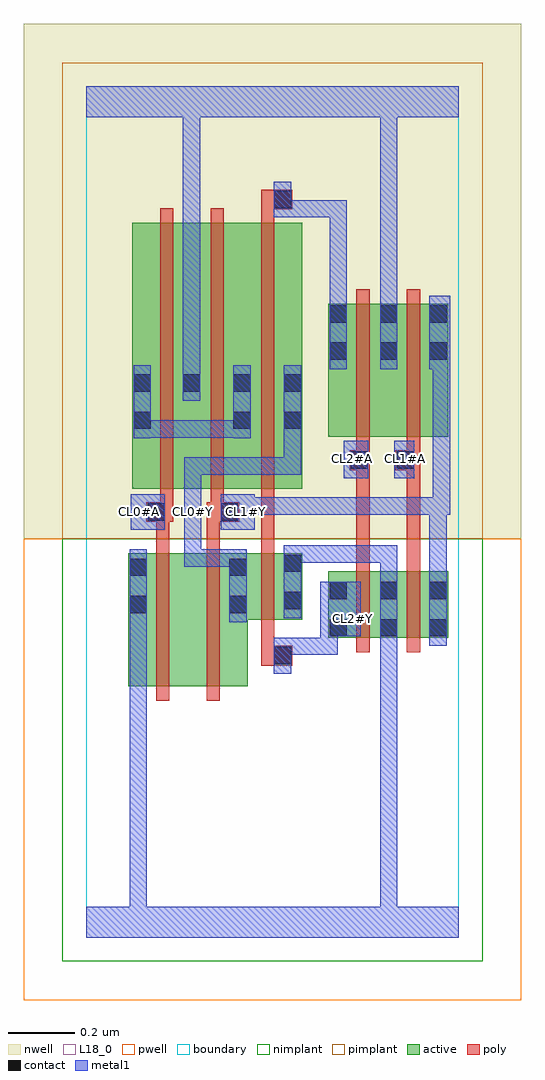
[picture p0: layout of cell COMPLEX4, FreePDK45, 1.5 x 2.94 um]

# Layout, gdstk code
import gdstk
lib = gdstk.Library(unit=1e-6, precision=1e-09)
def R(c, l, rs):  # rectangles x0, y0, x1, y1
    for r in rs: c.add(gdstk.rectangle(r[:2], r[2:], *l))
def A(c, l, x, y, w, h, nx, ny, dx, dy):  # array of equal rectangles
    R(c, l, [(x+i*dx, y+j*dy, x+i*dx+w, y+j*dy+h) for i in range(nx) for j in range(ny)])
active = (1, 0)
pwell = (2, 0)
nwell = (3, 0)
nimplant = (4, 0)
pimplant = (5, 0)
poly = (9, 0)
contact = (10, 0)
metal1 = (11, 0)
L18_0 = (18, 0)
boundary = (235, 0)

complex4 = lib.new_cell('COMPLEX4')
R(complex4, active, [(0.126,0.756,0.186,1.156), (0.126,0.756,0.306,1.156), (0.306,0.756,0.486,1.156), (0.426,0.756,0.486,1.156), (0.728,0.902,0.788,1.102), (0.728,0.902,0.94,1.102), (0.88,0.902,1.088,1.102), (0.88,0.902,0.94,1.074), (1.028,0.902,1.088,1.102), (0.426,0.956,0.65,1.156), (0.59,0.956,0.65,1.156), (0.138,1.35,0.198,2.044), (0.138,1.35,0.346,2.15), (0.286,1.35,0.498,2.15), (0.438,1.35,0.65,2.15), (0.59,1.35,0.65,2.044), (0.728,1.506,0.788,1.906), (0.728,1.506,0.94,1.906), (0.88,1.506,0.94,1.906), (0.88,1.506,1.088,1.906), (1.028,1.506,1.088,1.906), (0.438,1.526,0.498,2.044), (0.286,1.638,0.346,2.044)])
R(complex4, pwell, [(-0.188,-0.188,1.308,1.2)])
R(complex4, nwell, [(-0.188,1.2,1.308,2.748)])
R(complex4, nimplant, [(-0.072,-0.072,1.192,1.2)])
R(complex4, pimplant, [(-0.072,1.2,1.192,2.632)])
A(complex4, poly, 0.222, 1.306, 0.04, 0.888, 3, 1, 0.152, 0)
R(complex4, poly, [(0.21,0.712,0.25,1.2), (0.362,0.712,0.402,1.2), (0.526,0.818,0.62,0.878), (0.526,0.838,0.566,0.952), (0.812,0.858,0.852,1.146), (0.964,0.858,1.004,1.146), (0.526,0.912,0.566,1.2), (0.812,1.106,0.852,1.446), (0.964,1.106,1.004,1.446), (0.21,1.16,0.25,1.29), (0.362,1.16,0.402,1.29), (0.526,1.16,0.566,1.236), (0.526,1.196,0.566,1.236), (0.526,1.196,0.566,1.236), (0.526,1.196,0.566,1.236), (0.526,1.196,0.566,1.346), (0.18,1.25,0.262,1.31), (0.21,1.25,0.25,1.29), (0.21,1.25,0.25,1.29), (0.362,1.25,0.46,1.31), (0.222,1.27,0.262,1.346), (0.374,1.27,0.414,1.346), (0.374,1.27,0.414,1.31), (0.374,1.27,0.414,1.31), (0.792,1.406,0.852,1.466), (0.812,1.406,0.852,1.446), (0.812,1.406,0.852,1.446), (0.93,1.406,1.004,1.466), (0.964,1.406,1.004,1.446), (0.964,1.406,1.004,1.446), (0.812,1.426,0.852,1.502), (0.964,1.426,1.004,1.502), (0.812,1.462,0.852,1.95), (0.964,1.462,1.004,1.95), (0.526,2.154,0.566,2.23), (0.526,2.19,0.62,2.25)])
A(complex4, contact, 0.29, 1.642, 0.052, 0.052, 3, 1, 0.152, 0)
R(complex4, contact, [(0.564,0.822,0.616,0.874), (0.732,0.906,0.784,0.958), (0.884,0.906,0.936,0.958), (1.032,0.906,1.084,0.958), (0.13,0.976,0.182,1.028), (0.43,0.976,0.482,1.028), (0.594,0.988,0.646,1.04), (0.732,1.018,0.784,1.07), (0.884,1.018,0.936,1.07), (1.032,1.018,1.084,1.07), (0.13,1.088,0.182,1.14), (0.43,1.088,0.482,1.14), (0.594,1.1,0.646,1.152), (0.184,1.254,0.236,1.306), (0.404,1.254,0.456,1.306), (0.796,1.41,0.848,1.462), (0.934,1.41,0.986,1.462), (0.142,1.53,0.194,1.582), (0.442,1.53,0.494,1.582), (0.594,1.53,0.646,1.582), (0.142,1.642,0.194,1.694), (0.732,1.738,0.784,1.79), (0.884,1.738,0.936,1.79), (1.032,1.738,1.084,1.79), (0.732,1.85,0.784,1.902), (0.884,1.85,0.936,1.902), (1.032,1.85,1.084,1.902), (0.564,2.194,0.616,2.246)])
R(complex4, metal1, [(0,0,1.12,0.092), (0.13,0.04,0.182,0.092), (0.13,0.04,0.182,0.092), (0.13,0.04,0.182,0.092), (0.13,0.04,0.182,0.092), (0.13,0.04,0.182,0.092), (0.13,0.04,0.182,0.092), (0.13,0.04,0.182,0.092), (0.13,0.04,0.182,0.092), (0.13,0.04,0.182,0.092), (0.13,0.04,0.182,0.092), (0.13,0.04,0.182,0.092), (0.13,0.04,0.182,0.092), (0.13,0.04,0.182,1), (0.884,0.04,0.936,0.092), (0.884,0.04,0.936,0.092), (0.884,0.04,0.936,0.092), (0.884,0.04,0.936,0.092), (0.884,0.04,0.936,0.092), (0.884,0.04,0.936,0.092), (0.884,0.04,0.936,0.092), (0.884,0.04,0.936,0.092), (0.884,0.04,0.936,0.092), (0.884,0.04,0.936,0.092), (0.884,0.04,0.936,0.092), (0.884,0.04,0.936,0.092), (0.884,0.04,0.936,0.092), (0.884,0.04,0.936,0.092), (0.884,0.04,0.936,0.092), (0.884,0.04,0.936,0.092), (0.884,0.04,0.936,0.93), (0.564,0.794,0.616,0.902), (0.564,0.85,0.616,0.902), (0.564,0.85,0.616,0.902), (0.564,0.85,0.756,0.902), (0.704,0.85,0.756,0.902), (0.704,0.85,0.756,0.958), (0.884,0.878,0.936,1.098), (1.032,0.878,1.084,1.098), (0.704,0.906,0.826,1.07), (0.13,0.948,0.182,1.168), (0.43,0.948,0.482,1.168), (0.594,0.96,0.646,1.18), (0.884,1.046,0.936,1.18), (1.032,1.046,1.084,1.324), (0.294,1.116,0.346,1.168), (0.294,1.116,0.346,1.168), (0.294,1.116,0.346,1.168), (0.294,1.116,0.346,1.278), (0.294,1.116,0.482,1.168), (0.594,1.128,0.826,1.18), (0.774,1.128,0.826,1.18), (0.774,1.128,0.826,1.18), (0.774,1.128,0.826,1.18), (0.774,1.128,0.936,1.18), (0.884,1.128,0.936,1.18), (0.134,1.226,0.236,1.334), (0.294,1.226,0.346,1.334), (0.404,1.226,0.506,1.334), (0.454,1.272,0.506,1.324), (0.454,1.272,0.506,1.324), (0.454,1.272,0.646,1.324), (0.594,1.272,0.646,1.324), (0.594,1.272,0.646,1.324), (0.594,1.272,0.646,1.324), (0.594,1.272,0.826,1.324), (0.774,1.272,0.826,1.324), (0.774,1.272,0.826,1.324), (0.774,1.272,0.826,1.324), (0.774,1.272,0.936,1.324), (0.884,1.272,0.936,1.324), (0.884,1.272,1.084,1.324), (1.032,1.272,1.084,1.324), (1.032,1.272,1.084,1.324), (1.032,1.272,1.094,1.324), (1.042,1.272,1.094,1.762), (1.042,1.272,1.094,1.324), (1.042,1.272,1.094,1.324), (0.294,1.282,0.346,1.444), (0.774,1.382,0.848,1.494), (0.926,1.382,0.986,1.494), (0.294,1.392,0.346,1.444), (0.294,1.392,0.346,1.444), (0.294,1.392,0.346,1.444), (0.294,1.392,0.456,1.444), (0.404,1.392,0.456,1.444), (0.404,1.392,0.646,1.444), (0.594,1.392,0.646,1.444), (0.594,1.392,0.646,1.444), (0.594,1.392,0.646,1.444), (0.594,1.392,0.646,1.554), (0.142,1.502,0.194,1.722), (0.442,1.502,0.494,1.722), (0.594,1.502,0.646,1.722), (0.142,1.504,0.194,1.556), (0.142,1.504,0.194,1.556), (0.142,1.504,0.346,1.556), (0.294,1.504,0.346,1.556), (0.294,1.504,0.346,1.556), (0.294,1.504,0.346,1.556), (0.294,1.504,0.494,1.556), (0.29,1.614,0.342,1.722), (0.29,1.67,0.342,1.722), (0.29,1.67,0.342,1.722), (0.29,1.67,0.342,2.52), (0.732,1.71,0.784,1.93), (0.884,1.71,0.936,1.93), (1.032,1.71,1.094,1.93), (0.732,1.878,0.784,1.93), (0.732,1.878,0.784,1.93), (0.732,1.878,0.784,1.93), (0.732,1.878,0.784,1.93), (0.732,1.878,0.784,1.93), (0.732,1.878,0.784,1.93), (0.732,1.878,0.784,2.218), (0.884,1.878,0.936,1.93), (0.884,1.878,0.936,1.93), (0.884,1.878,0.936,2.52), (0.564,2.166,0.616,2.218), (0.564,2.166,0.616,2.218), (0.564,2.166,0.784,2.218), (0.564,2.166,0.616,2.274), (0.732,2.166,0.784,2.218), (0.732,2.166,0.784,2.218), (0.732,2.166,0.784,2.218), (0,2.468,1.12,2.56), (0.29,2.468,0.342,2.52), (0.29,2.468,0.342,2.52), (0.29,2.468,0.342,2.52), (0.29,2.468,0.342,2.52), (0.29,2.468,0.342,2.52), (0.29,2.468,0.342,2.52), (0.884,2.468,0.936,2.52), (0.884,2.468,0.936,2.52), (0.884,2.468,0.936,2.52), (0.884,2.468,0.936,2.52), (0.884,2.468,0.936,2.52), (0.884,2.468,0.936,2.52), (0.884,2.468,0.936,2.52), (0.884,2.468,0.936,2.52), (0.884,2.468,0.936,2.52), (0.884,2.468,0.936,2.52), (0.884,2.468,0.936,2.52), (0.884,2.468,0.936,2.52), (0.884,2.468,0.936,2.52), (0.884,2.468,0.936,2.52)])
A(complex4, L18_0, 0.134, 1.254, 0.052, 0.052, 3, 1, 0.16, 0)
R(complex4, L18_0, [(0,0,1.12,0.092), (0.13,0.04,0.182,0.092), (0.13,0.04,0.182,0.092), (0.13,0.04,0.182,0.092), (0.13,0.04,0.182,0.092), (0.13,0.04,0.182,0.092), (0.13,0.04,0.182,0.092), (0.13,0.04,0.182,0.092), (0.13,0.04,0.182,0.092), (0.13,0.04,0.182,0.092), (0.13,0.04,0.182,0.092), (0.13,0.04,0.182,0.092), (0.13,0.04,0.182,0.092), (0.13,0.04,0.182,1), (0.884,0.04,0.936,0.092), (0.884,0.04,0.936,0.092), (0.884,0.04,0.936,0.092), (0.884,0.04,0.936,0.092), (0.884,0.04,0.936,0.092), (0.884,0.04,0.936,0.092), (0.884,0.04,0.936,0.092), (0.884,0.04,0.936,0.092), (0.884,0.04,0.936,0.092), (0.884,0.04,0.936,0.092), (0.884,0.04,0.936,0.092), (0.884,0.04,0.936,0.092), (0.884,0.04,0.936,0.092), (0.884,0.04,0.936,0.092), (0.884,0.04,0.936,0.092), (0.884,0.04,0.936,0.092), (0.884,0.04,0.936,0.93), (0.564,0.794,0.616,0.902), (0.564,0.85,0.616,0.902), (0.564,0.85,0.616,0.902), (0.564,0.85,0.756,0.902), (0.704,0.85,0.756,0.902), (0.704,0.85,0.756,0.958), (0.884,0.878,0.936,1.098), (1.032,0.878,1.084,1.098), (0.704,0.906,0.826,1.07), (0.774,0.934,0.826,0.986), (0.13,0.948,0.182,1.168), (0.43,0.948,0.482,1.168), (0.594,0.96,0.646,1.18), (0.884,1.046,0.936,1.18), (1.032,1.046,1.084,1.324), (0.294,1.116,0.346,1.168), (0.294,1.116,0.346,1.168), (0.294,1.116,0.346,1.168), (0.294,1.116,0.346,1.278), (0.294,1.116,0.482,1.168), (0.594,1.128,0.826,1.18), (0.774,1.128,0.826,1.18), (0.774,1.128,0.826,1.18), (0.774,1.128,0.826,1.18), (0.774,1.128,0.936,1.18), (0.884,1.128,0.936,1.18), (0.134,1.226,0.236,1.334), (0.294,1.226,0.346,1.334), (0.404,1.226,0.506,1.334), (0.454,1.272,0.506,1.324), (0.454,1.272,0.506,1.324), (0.454,1.272,0.646,1.324), (0.594,1.272,0.646,1.324), (0.594,1.272,0.646,1.324), (0.594,1.272,0.646,1.324), (0.594,1.272,0.826,1.324), (0.774,1.272,0.826,1.324), (0.774,1.272,0.826,1.324), (0.774,1.272,0.826,1.324), (0.774,1.272,0.936,1.324), (0.884,1.272,0.936,1.324), (0.884,1.272,1.084,1.324), (1.032,1.272,1.084,1.324), (1.032,1.272,1.084,1.324), (1.032,1.272,1.094,1.324), (1.042,1.272,1.094,1.324), (1.042,1.272,1.094,1.324), (1.042,1.272,1.094,1.762), (0.294,1.282,0.346,1.444), (0.774,1.382,0.848,1.494), (0.926,1.382,0.986,1.494), (0.294,1.392,0.346,1.444), (0.294,1.392,0.346,1.444), (0.294,1.392,0.346,1.444), (0.294,1.392,0.456,1.444), (0.404,1.392,0.456,1.444), (0.404,1.392,0.646,1.444), (0.594,1.392,0.646,1.444), (0.594,1.392,0.646,1.444), (0.594,1.392,0.646,1.444), (0.594,1.392,0.646,1.554), (0.774,1.414,0.826,1.466), (0.934,1.414,0.986,1.466), (0.594,1.502,0.646,1.722), (0.29,1.614,0.342,1.722), (0.29,1.67,0.342,1.722), (0.29,1.67,0.342,1.722), (0.29,1.67,0.342,2.52), (0.732,1.71,0.784,1.93), (0.884,1.71,0.936,1.93), (1.032,1.71,1.094,1.93), (0.732,1.878,0.784,1.93), (0.732,1.878,0.784,1.93), (0.732,1.878,0.784,1.93), (0.732,1.878,0.784,1.93), (0.732,1.878,0.784,1.93), (0.732,1.878,0.784,1.93), (0.732,1.878,0.784,2.218), (0.884,1.878,0.936,1.93), (0.884,1.878,0.936,1.93), (0.884,1.878,0.936,2.52), (0.564,2.166,0.616,2.218), (0.564,2.166,0.616,2.218), (0.564,2.166,0.616,2.274), (0.564,2.166,0.784,2.218), (0.732,2.166,0.784,2.218), (0.732,2.166,0.784,2.218), (0.732,2.166,0.784,2.218), (0,2.468,1.12,2.56), (0.29,2.468,0.342,2.52), (0.29,2.468,0.342,2.52), (0.29,2.468,0.342,2.52), (0.29,2.468,0.342,2.52), (0.29,2.468,0.342,2.52), (0.29,2.468,0.342,2.52), (0.884,2.468,0.936,2.52), (0.884,2.468,0.936,2.52), (0.884,2.468,0.936,2.52), (0.884,2.468,0.936,2.52), (0.884,2.468,0.936,2.52), (0.884,2.468,0.936,2.52), (0.884,2.468,0.936,2.52), (0.884,2.468,0.936,2.52), (0.884,2.468,0.936,2.52), (0.884,2.468,0.936,2.52), (0.884,2.468,0.936,2.52), (0.884,2.468,0.936,2.52), (0.884,2.468,0.936,2.52), (0.884,2.468,0.936,2.52)])
R(complex4, boundary, [(0,0,1.12,2.56)])
complex4.add(gdstk.Label('CL0#A', (0.16,1.28), layer=11, texttype=0))
complex4.add(gdstk.Label('CL0#Y', (0.32,1.28), layer=11, texttype=0))
complex4.add(gdstk.Label('CL1#A', (0.96,1.44), layer=11, texttype=0))
complex4.add(gdstk.Label('CL1#Y', (0.48,1.28), layer=11, texttype=0))
complex4.add(gdstk.Label('CL2#A', (0.8,1.44), layer=11, texttype=0))
complex4.add(gdstk.Label('CL2#Y', (0.8,0.96), layer=11, texttype=0))

lib.write_gds('COMPLEX4.gds')
